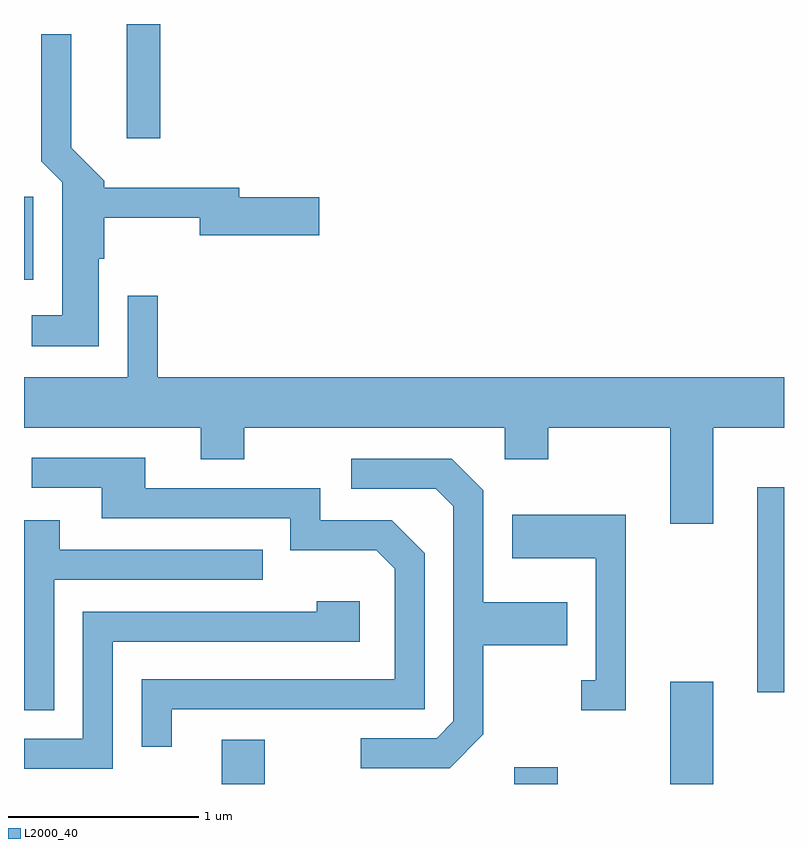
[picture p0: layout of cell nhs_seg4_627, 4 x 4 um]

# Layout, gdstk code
import gdstk
lib = gdstk.Library(unit=1e-6, precision=1e-09)
def R(c, l, rs):  # rectangles x0, y0, x1, y1
    for r in rs: c.add(gdstk.rectangle(r[:2], r[2:], *l))
def P(c, l, *ps):  # polygons
    for p in ps: c.add(gdstk.Polygon(p, *l))
L2000_40 = (2000, 40)

nhs_seg4_627 = lib.new_cell('nhs_seg4_627')
R(nhs_seg4_627, L2000_40, [(204.651,1283.982,204.879,1284.214), (206.191,1283.982,206.419,1284.069), (207.011,1283.982,207.239,1284.519), (207.471,1284.466,207.611,1285.544), (203.611,1286.636,203.659,1287.073), (204.151,1287.381,204.329,1287.982)])
P(nhs_seg4_627, L2000_40, [(204.004,1286.746),(204.034,1286.746),(204.034,1286.961),(204.536,1286.961),(204.536,1286.871),(205.164,1286.871),(205.164,1287.069),(204.744,1287.069),(204.744,1287.119),(204.034,1287.119),(204.034,1287.157),(203.859,1287.332),(203.859,1287.928),(203.701,1287.928),(203.701,1287.259),(203.811,1287.149),(203.811,1286.449),(203.653,1286.449),(203.653,1286.286),(204.004,1286.286)],
  [(207.239,1285.856),(207.611,1285.856),(207.611,1286.124),(204.314,1286.124),(204.314,1286.553),(204.156,1286.553),(204.156,1286.124),(203.611,1286.124),(203.611,1285.856),(204.541,1285.856),(204.541,1285.691),(204.769,1285.691),(204.769,1285.856),(206.141,1285.856),(206.141,1285.691),(206.369,1285.691),(206.369,1285.856),(207.011,1285.856),(207.011,1285.351),(207.239,1285.351)],
  [(204.389,1284.376),(205.719,1284.376),(205.719,1285.197),(205.547,1285.369),(205.169,1285.369),(205.169,1285.539),(204.249,1285.539),(204.249,1285.699),(203.653,1285.699),(203.653,1285.541),(204.021,1285.541),(204.021,1285.381),(205.011,1285.381),(205.011,1285.211),(205.464,1285.211),(205.561,1285.114),(205.561,1284.534),(204.231,1284.534),(204.231,1284.178),(204.389,1284.178)],
  [(206.029,1284.244),(206.029,1284.711),(206.469,1284.711),(206.469,1284.939),(206.029,1284.939),(206.029,1285.527),(205.862,1285.694),(205.333,1285.694),(205.333,1285.536),(205.779,1285.536),(205.871,1285.444),(205.871,1284.312),(205.784,1284.224),(205.383,1284.224),(205.383,1284.066),(205.852,1284.066)],
  [(206.779,1285.399),(206.181,1285.399),(206.181,1285.171),(206.621,1285.171),(206.621,1284.529),(206.543,1284.529),(206.543,1284.371),(206.779,1284.371)],
  [(203.769,1285.056),(204.868,1285.056),(204.868,1285.214),(203.799,1285.214),(203.799,1285.369),(203.611,1285.369),(203.611,1284.371),(203.769,1284.371)],
  [(204.079,1284.731),(205.379,1284.731),(205.379,1284.944),(205.151,1284.944),(205.151,1284.889),(203.921,1284.889),(203.921,1284.219),(203.611,1284.219),(203.611,1284.061),(204.079,1284.061)])

lib.write_gds('nhs_seg4_627.gds')
